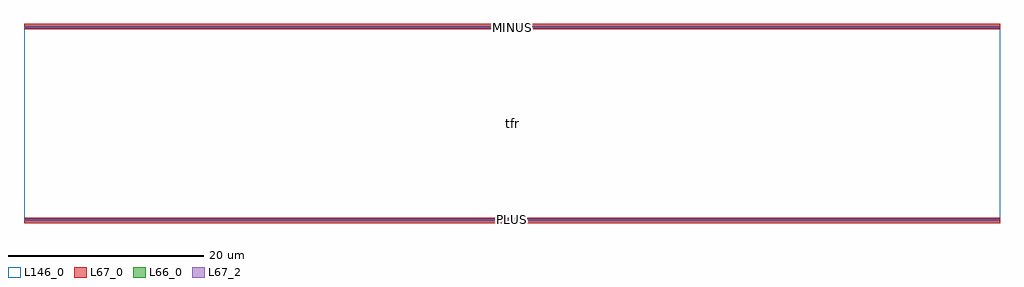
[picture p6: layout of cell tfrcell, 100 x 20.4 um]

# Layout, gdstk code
import gdstk
lib = gdstk.Library(unit=1e-6, precision=1e-09)
def R(c, l, rs):  # rectangles x0, y0, x1, y1
    for r in rs: c.add(gdstk.rectangle(r[:2], r[2:], *l))
L66_0 = (66, 0)
L67_0 = (67, 0)
L67_2 = (67, 2)
L146_0 = (146, 0)

tfrcell = lib.new_cell('tfrcell')
R(tfrcell, L66_0, [(0.045,0.27,99.915,0.46), (0.045,19.94,99.915,20.13)])
R(tfrcell, L67_0, [(0,0,100,0.53), (0,19.87,100,20.4)])
R(tfrcell, L67_2, [(0.07,0.27,99.93,0.46), (0.07,19.94,99.93,20.13)])
R(tfrcell, L146_0, [(0,0.2,100,20.2)])
tfrcell.add(gdstk.Label('tfr', (50,10.2), layer=63, texttype=0))
tfrcell.add(gdstk.Label('PLUS', (50,0.365), layer=67, texttype=25))
tfrcell.add(gdstk.Label('MINUS', (50,20.035), layer=67, texttype=25))

lib.write_gds('tfrcell.gds')
